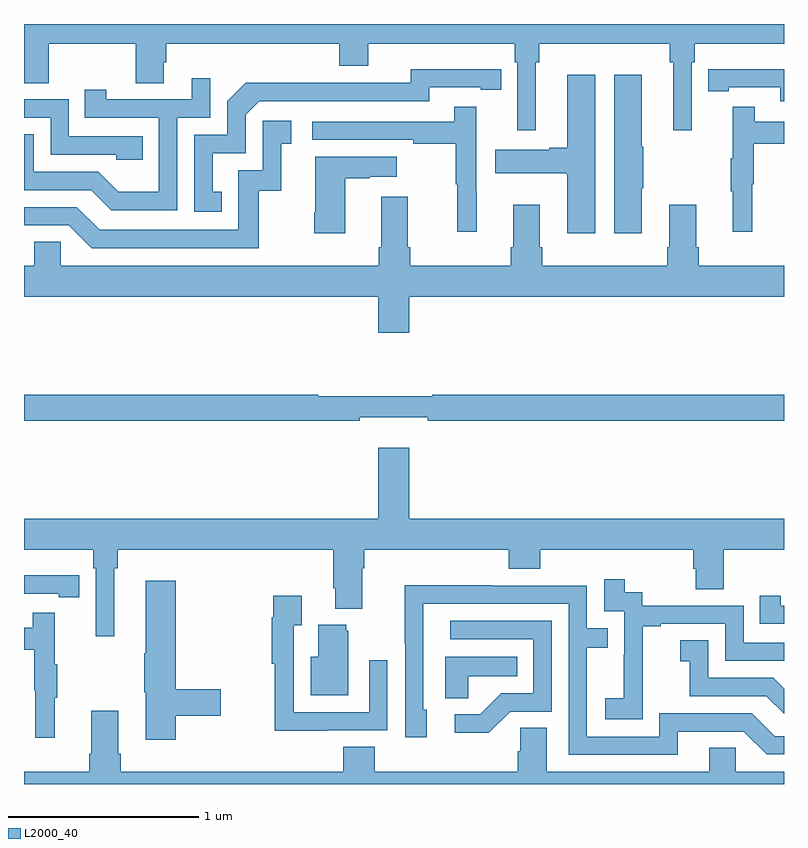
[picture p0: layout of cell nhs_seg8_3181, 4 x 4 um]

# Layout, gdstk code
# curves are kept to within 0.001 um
import gdstk
lib = gdstk.Library(unit=1e-6, precision=1e-09)
def P(c, l, *ps):  # polygons
    for p in ps: c.add(gdstk.Polygon(p, *l))
L2000_40 = (2000, 40)

nhs_seg8_3181 = lib.new_cell('nhs_seg8_3181')
P(nhs_seg8_3181, L2000_40, [(309.694,1153.7),(309.713,1153.7),(309.713,1153.796),(310.399,1153.796),(310.399,1153.7),(310.418,1153.7),(310.418,1153.341),(310.515,1153.341),(310.515,1153.7),(310.529,1153.7),(310.529,1153.796),(311,1153.796),(311,1153.9),(307,1153.9),(307,1153.588),(307.131,1153.588),(307.131,1153.796),(307.588,1153.796),(307.588,1153.588),(307.735,1153.588),(307.735,1153.698),(307.748,1153.698),(307.748,1153.796),(308.66,1153.796),(308.66,1153.679),(308.812,1153.679),(308.812,1153.796),(309.584,1153.796),(309.584,1153.7),(309.597,1153.7),(309.597,1153.341),(309.694,1153.341)],
  [(308.042,1153.017),(307.993,1153.017),(307.993,1153.221),(308.166,1153.221),(308.166,1153.422),(308.238,1153.494),(309.132,1153.494),(309.132,1153.566),(309.404,1153.566),(309.404,1153.554),(309.512,1153.554),(309.512,1153.662),(309.036,1153.663),(309.036,1153.59),(308.576,1153.59),(308.576,1153.592),(308.168,1153.592),(308.07,1153.494),(308.07,1153.317),(307.896,1153.317),(307.896,1152.912),(308.042,1152.912)],
  [(311,1153.663),(310.708,1153.663),(310.708,1153.662),(310.6,1153.662),(310.6,1153.546),(310.708,1153.546),(310.708,1153.566),(310.98,1153.566),(310.98,1153.494),(311,1153.494)],
  [(310.006,1153.633),(309.86,1153.633),(309.86,1153.25),(309.764,1153.25),(309.764,1153.237),(309.48,1153.237),(309.48,1153.115),(309.853,1153.115),(309.853,1153.108),(309.86,1153.108),(309.86,1152.798),(310.006,1152.798)],
  [(310.252,1153.036),(310.26,1153.036),(310.26,1153.253),(310.252,1153.253),(310.252,1153.633),(310.106,1153.633),(310.106,1152.798),(310.252,1152.798)],
  [(307.806,1153.407),(307.98,1153.407),(307.98,1153.615),(307.883,1153.615),(307.883,1153.503),(307.432,1153.503),(307.432,1153.555),(307.321,1153.555),(307.321,1153.407),(307.71,1153.407),(307.71,1153.018),(307.496,1153.018),(307.392,1153.122),(307.05,1153.122),(307.05,1153.321),(307,1153.321),(307,1153.026),(307.355,1153.026),(307.46,1152.921),(307.806,1152.921)],
  [(307.625,1153.308),(307.236,1153.308),(307.236,1153.503),(307,1153.503),(307,1153.407),(307.14,1153.407),(307.14,1153.212),(307.485,1153.212),(307.485,1153.185),(307.625,1153.185)],
  [(309.383,1153.019),(309.381,1153.019),(309.381,1153.465),(309.265,1153.465),(309.265,1153.386),(308.517,1153.386),(308.517,1153.29),(309.049,1153.29),(309.049,1153.27),(309.273,1153.27),(309.273,1153.056),(309.28,1153.056),(309.28,1152.807),(309.383,1152.807)],
  [(310.832,1153.056),(310.84,1153.056),(310.84,1153.27),(311,1153.27),(311,1153.386),(310.847,1153.386),(310.847,1153.465),(310.73,1153.465),(310.73,1153.193),(310.719,1153.193),(310.719,1153.019),(310.73,1153.019),(310.73,1152.807),(310.832,1152.807)],
  [(308.236,1153.023),(308.354,1153.023),(308.354,1153.269),(308.407,1153.269),(308.407,1153.39),(308.256,1153.39),(308.256,1153.131),(308.127,1153.131),(308.127,1152.816),(307.398,1152.816),(307.278,1152.936),(307,1152.936),(307,1152.84),(307.236,1152.84),(307.356,1152.72),(308.236,1152.72)],
  [(308.692,1153.087),(308.819,1153.087),(308.819,1153.097),(308.962,1153.097),(308.962,1153.201),(308.534,1153.201),(308.534,1152.91),(308.527,1152.91),(308.527,1152.798),(308.692,1152.798)],
  [(311,1152.628),(310.55,1152.628),(310.55,1152.724),(310.537,1152.724),(310.537,1152.949),(310.397,1152.949),(310.397,1152.724),(310.385,1152.724),(310.385,1152.628),(309.728,1152.628),(309.728,1152.724),(309.715,1152.724),(309.715,1152.949),(309.575,1152.949),(309.575,1152.724),(309.563,1152.724),(309.563,1152.628),(309.032,1152.628),(309.032,1152.724),(309.019,1152.724),(309.019,1152.991),(308.879,1152.991),(308.879,1152.724),(308.867,1152.724),(308.867,1152.628),(307.194,1152.628),(307.194,1152.755),(307.055,1152.755),(307.055,1152.628),(307,1152.628),(307,1152.464),(308.864,1152.464),(308.864,1152.276),(309.028,1152.276),(309.028,1152.464),(311,1152.464)],
  [(308.768,1151.831),(309.124,1151.831),(309.124,1151.812),(311,1151.812),(311,1151.948),(309.149,1151.948),(309.149,1151.941),(308.549,1151.941),(308.549,1151.948),(307,1151.948),(307,1151.812),(308.768,1151.812)],
  [(307.474,1151.036),(307.493,1151.036),(307.493,1151.132),(308.627,1151.132),(308.627,1150.93),(308.639,1150.93),(308.639,1150.823),(308.779,1150.823),(308.779,1151.036),(308.792,1151.036),(308.792,1151.132),(309.551,1151.132),(309.551,1151.033),(309.716,1151.033),(309.716,1151.132),(310.523,1151.132),(310.523,1151.034),(310.535,1151.034),(310.535,1150.924),(310.683,1150.924),(310.683,1151.132),(311,1151.132),(311,1151.296),(309.028,1151.296),(309.028,1151.671),(308.864,1151.671),(308.864,1151.296),(307,1151.296),(307,1151.132),(307.364,1151.132),(307.364,1151.036),(307.377,1151.036),(307.377,1150.677),(307.474,1150.677)],
  [(307.292,1150.998),(307.184,1150.998),(307.184,1150.999),(307,1150.999),(307,1150.902),(307.184,1150.902),(307.184,1150.882),(307.292,1150.882)],
  [(310.257,1150.447),(310.256,1150.447),(310.256,1150.731),(310.351,1150.731),(310.351,1150.743),(310.692,1150.743),(310.692,1150.548),(311,1150.548),(311,1150.644),(310.788,1150.644),(310.788,1150.839),(310.254,1150.839),(310.254,1150.908),(310.162,1150.908),(310.162,1150.978),(310.053,1150.978),(310.053,1150.809),(310.158,1150.809),(310.158,1150.58),(310.157,1150.58),(310.157,1150.351),(310.059,1150.351),(310.059,1150.241),(310.257,1150.241)],
  [(307.799,1150.258),(308.035,1150.258),(308.035,1150.4),(307.799,1150.4),(307.799,1150.969),(307.64,1150.969),(307.64,1150.589),(307.633,1150.589),(307.633,1150.383),(307.64,1150.383),(307.64,1150.134),(307.799,1150.134)],
  [(310.441,1150.176),(310.788,1150.176),(310.908,1150.056),(311,1150.056),(311,1150.152),(310.95,1150.152),(310.83,1150.272),(310.344,1150.272),(310.344,1150.149),(309.963,1150.149),(309.963,1150.618),(310.073,1150.618),(310.073,1150.719),(309.963,1150.719),(309.963,1150.944),(309.467,1150.944),(309.467,1150.946),(309.004,1150.946),(309.004,1150.639),(309.006,1150.639),(309.006,1150.146),(309.121,1150.146),(309.121,1150.29),(309.102,1150.29),(309.102,1150.848),(309.867,1150.848),(309.867,1150.053),(310.441,1150.053)],
  [(311,1150.839),(310.984,1150.839),(310.984,1150.891),(310.873,1150.891),(310.873,1150.743),(311,1150.743)],
  [(308.597,1150.182),(308.913,1150.182),(308.913,1150.552),(308.817,1150.552),(308.817,1150.278),(308.421,1150.278),(308.421,1150.735),(308.461,1150.735),(308.461,1150.891),(308.313,1150.891),(308.313,1150.778),(308.305,1150.778),(308.305,1150.532),(308.32,1150.532),(308.32,1150.181),(308.597,1150.181)],
  [(307.163,1150.355),(307.174,1150.355),(307.174,1150.529),(307.163,1150.529),(307.163,1150.801),(307.045,1150.801),(307.045,1150.722),(307,1150.722),(307,1150.606),(307.053,1150.606),(307.053,1150.392),(307.06,1150.392),(307.06,1150.143),(307.163,1150.143)],
  [(309.558,1150.281),(309.777,1150.281),(309.777,1150.758),(309.243,1150.758),(309.243,1150.662),(309.681,1150.662),(309.681,1150.377),(309.512,1150.377),(309.401,1150.266),(309.267,1150.266),(309.267,1150.169),(309.445,1150.169)],
  [(308.707,1150.707),(308.696,1150.707),(308.696,1150.738),(308.549,1150.738),(308.549,1150.57),(308.51,1150.57),(308.51,1150.367),(308.707,1150.367)],
  [(311,1150.402),(310.944,1150.458),(310.602,1150.458),(310.602,1150.657),(310.455,1150.657),(310.455,1150.547),(310.504,1150.547),(310.504,1150.362),(310.907,1150.362),(311,1150.269)],
  [(309.339,1150.466),(309.596,1150.466),(309.596,1150.57),(309.218,1150.57),(309.218,1150.351),(309.339,1150.351)],
  [(311,1149.964),(310.746,1149.964),(310.746,1150.091),(310.607,1150.091),(310.607,1149.964),(309.751,1149.964),(309.751,1150.196),(309.612,1150.196),(309.612,1150.073),(309.599,1150.073),(309.599,1149.964),(308.846,1149.964),(308.846,1150.097),(308.681,1150.097),(308.681,1149.964),(307.508,1149.964),(307.508,1150.06),(307.495,1150.06),(307.495,1150.285),(307.355,1150.285),(307.355,1150.06),(307.343,1150.06),(307.343,1149.964),(307,1149.964),(307,1149.9),(311,1149.9)])

lib.write_gds('nhs_seg8_3181.gds')
